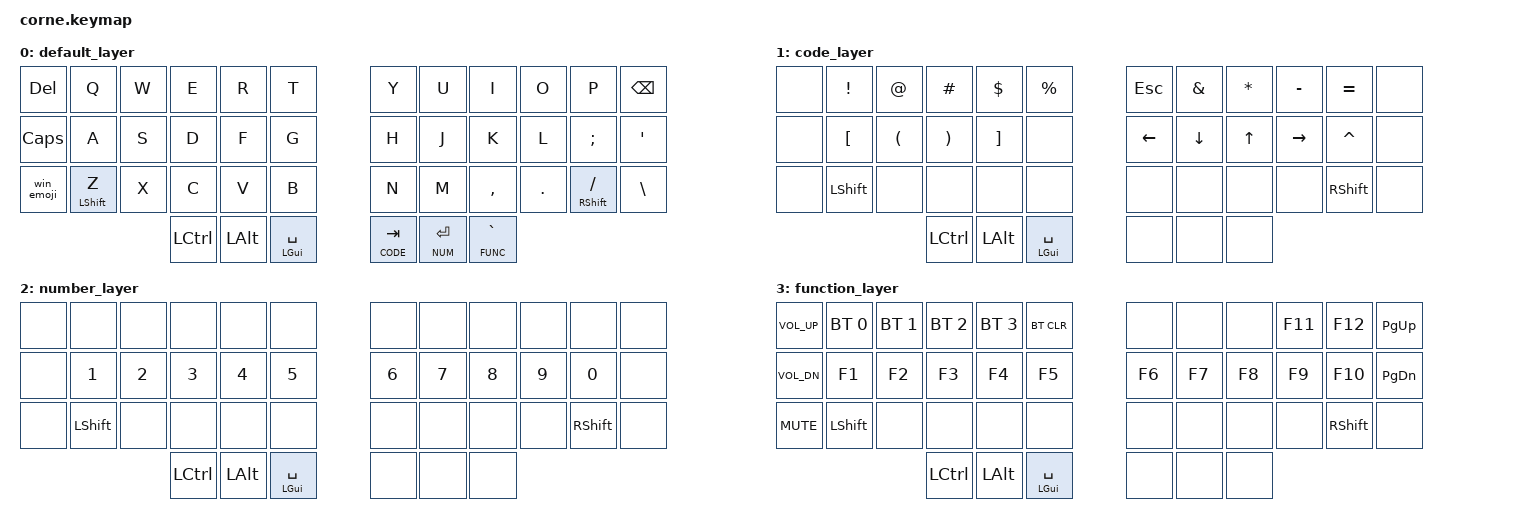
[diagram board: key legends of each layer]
#include <behaviors.dtsi>
#include <dt-bindings/zmk/keys.h>
#include <dt-bindings/zmk/bt.h>

// Layers
#define DEFAULT 0
#define CODE 1
#define NUM 2
#define FUNC 3


    // Behavior Overrides
    &lt {
        tapping-term-ms = <200>;
        flavor = "hold-preferred";
    };

/ {


    // Combo keys are a way to combine multiple keypresses to output a different key. For example, you can hit the Q and W keys on your keyboard to output escape.
    //combos {
      //  compatible = "zmk,combos";
        //combo_tab {
        //  timeout-ms = <20>;
        //  key-positions = <1 2>;
        //  bindings = <&kp TAB>;
        //};
    //};

    // The macro behavior allows configuring a list of other behaviors to invoke when the macro is pressed and/or released.
    macros {
        spotlight: spotlight {
            label = "spotlight";
            compatible = "zmk,behavior-macro";
            #binding-cells = <0>;
            bindings = <&macro_press &kp LGUI>, <&macro_tap &kp SPACE>, <&macro_release &kp LGUI>; 
        };

        // Emoji
        mac_emoji: mac_emoji {
            label = "mac_emoji";
            compatible = "zmk,behavior-macro";
            #binding-cells = <0>;
            bindings = <&macro_press &kp LGUI>, <&macro_press &kp LCTRL>, <&macro_tap &kp SPACE>, <&macro_release &kp LCTRL>, <&macro_release &kp LGUI>; 
        };

        win_emoji: win_emoji {
            label = "win_emoji";
            compatible = "zmk,behavior-macro";
            #binding-cells = <0>;
            bindings = <&macro_press &kp LGUI>, <&macro_tap &kp DOT>, <&macro_release &kp LGUI>; 
        };
    };

    // Define custom behaviors
    //behaviors {
        //bm: bottom_row_mods {
            //compatible = "zmk,behavior-hold-tap";
            //label = "BOTTOM_ROW_MODS";
            //#binding-cells = <2>;
            //tapping-term-ms = <135>;
            //quick-tap-ms = <0>;
            //flavor = "tap-preferred";
            //bindings = <&kp>, <&kp>;
        //};
    //};
    keymap {
        compatible = "zmk,keymap";

        default_layer {
            bindings = <
                &kp DEL         &kp Q            &kp W      &kp E          &kp R         &kp T               &kp Y                 &kp U                  &kp I              &kp O        &kp P               &kp BSPC 
                &kp CAPS        &kp A            &kp S      &kp D          &kp F         &kp G               &kp H                 &kp J                  &kp K              &kp L        &kp SEMI            &kp APOS
                &win_emoji      &mt LSHFT Z      &kp X      &kp C          &kp V         &kp B               &kp N                 &kp M                  &kp COMMA          &kp DOT      &mt RSHFT FSLH      &kp BSLH
                                                            &kp LCTRL      &kp LALT      &mt LGUI SPACE      &lt CODE TAB          &lt NUM ENTER          &lt FUNC GRAVE    
            >;
        };
        code_layer {
            bindings = <
                &none      &kp EXCL         &kp AT        &kp HASH       &kp DLLR       &kp PRCNT           &kp ESC        &kp AMPS          &kp ASTERISK       &kp MINUS         &kp EQUAL           &none
                &none      &kp LBKT         &kp LPAR      &kp RPAR       &kp RBKT       &none               &kp LEFT       &kp DOWN          &kp UP             &kp RIGHT         &kp CARET           &none
                &none      &kp LSHFT        &none         &none          &none          &none               &none          &none             &none              &none             &kp RSHFT           &none
                                                          &kp LCTRL      &kp LALT       &mt LGUI SPACE      &none          &none             &none      
            >;
        };

        number_layer {
            bindings = < 
                &none         &none          &none         &none          &none         &none               &none          &none         &none              &none         &none         &none
                &none         &kp N1         &kp N2        &kp N3         &kp N4        &kp N5              &kp N6         &kp N7        &kp N8             &kp N9        &kp N0        &none
                &none         &kp LSHFT      &none         &none          &none         &none               &none          &none         &none              &none         &kp RSHFT     &none          
                                                           &kp LCTRL      &kp LALT      &mt LGUI SPACE      &none          &none         &none      
            >;
        };
        
        function_layer {
            bindings =<
                &kp C_VOL_UP  &bt BT_SEL 0    &bt BT_SEL 1      &bt BT_SEL 2      &bt BT_SEL 3      &bt BT_CLR          &none      &none       &none         &kp F11       &kp F12      &kp PG_UP
                &kp C_VOL_DN  &kp F1          &kp F2            &kp F3            &kp F4            &kp F5              &kp F6     &kp F7      &kp F8        &kp F9        &kp F10      &kp PG_DN 
                &kp C_MUTE    &kp LSHFT       &none             &none             &none             &none               &none      &none       &none         &none         &kp RSHFT    &none     
                                                                &kp LCTRL         &kp LALT          &mt LGUI SPACE      &none      &none       &none     
            >;
        };
    };
};   
